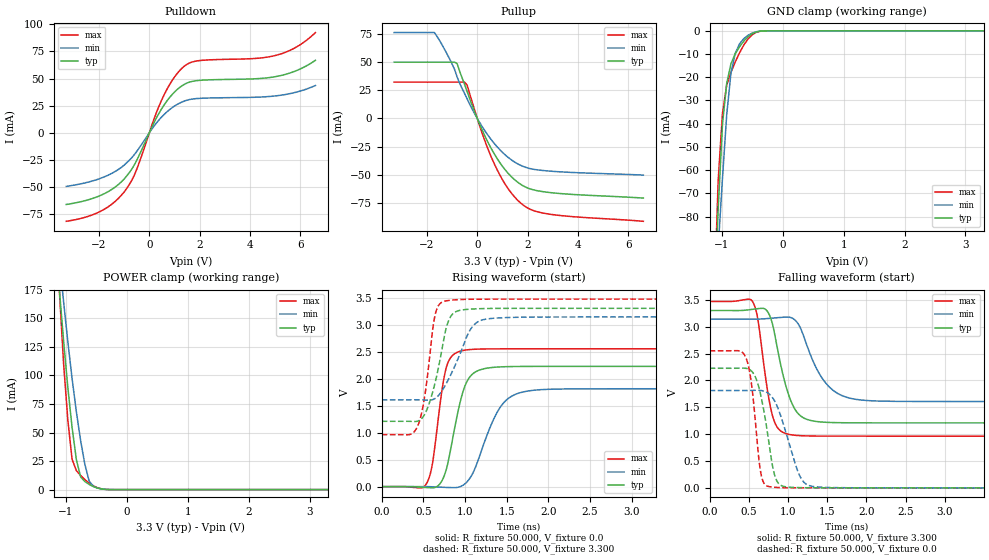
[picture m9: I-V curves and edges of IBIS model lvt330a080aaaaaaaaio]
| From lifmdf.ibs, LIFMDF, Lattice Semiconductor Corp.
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|   Model lvt330a080aaaaaaaaio
[Model] lvt330a080aaaaaaaaio
Model_type I/O
Polarity   Non-Inverting
Enable   Active-Low
Vinl =  0.800V
Vinh =  2.000V
Vmeas =  1.650V
Cref =  0.0F
Rref =  1.000M
Vref =  0.0V
C_comp   5.000pF   4.000pF   5.500pF
[Temperature Range]   25.000   0.125k   -40.000
[Voltage Range]   3.300V   3.140V   3.470V
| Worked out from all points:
|   slope of the pulldown table from 0 to 0.495 V, typ, clamps not added: 22.2 ohm
|   slope of the pullup table from 0 to 0.495 V, typ, clamps not added: 20.5 ohm
|   GND clamp passes 1 mA (typ) near -0.48 V on its own axis
|   POWER clamp passes 1 mA (typ) near -0.46 V on its own axis
|   rising waveform, R_fixture 50.000, V_fixture 0.0: 20-80 % time 185ps typ, 288ps min, 134ps max; typ from 0 V to 2.23 V
|   rising waveform, R_fixture 50.000, V_fixture 3.300: 20-80 % time 178ps typ, 261ps min, 124ps max; typ from 1.21 V to 3.3 V
|   falling waveform, R_fixture 50.000, V_fixture 3.300: 20-80 % time 207ps typ, 307ps min, 149ps max; typ from 3.3 V to 1.21 V
|   falling waveform, R_fixture 50.000, V_fixture 0.0: 20-80 % time 154ps typ, 231ps min, 107ps max; typ from 2.23 V to 0 V
[Pulldown]
|Voltage   I(typ)   I(min)   I(max)
-3.3V     -66.12mA   -49.45mA   -81.62mA
-1.9V     -57.38mA   -41.67mA   -71.93mA
-1V       -42.63mA   -29.84mA   -54.63mA
-500mV    -25.4mA    -17.23mA   -33.66mA
200mV     10mA       6.57mA     13.59mA
600mV     26.08mA    17.12mA    35.57mA
1V        37.51mA    24.6mA     51.39mA
1.4V      44.74mA    29.31mA    61.55mA
2V        48.29mA    31.71mA    66.54mA
5V        51.68mA    33.93mA    71.19mA
5.8V      56.86mA    37.2mA     78.45mA
6.6V      66.79mA    43.54mA    92.35mA
[Pullup]
|Voltage   I(typ)   I(min)   I(max)
-3.3V     49.76mA    75.94mA    32.09mA
-1.7V     49.76mA    75.94mA    32.09mA
-1.1V     49.76mA    52.63mA    32.09mA
-800mV    48.46mA    36.68mA    32.09mA
-500mV    29.82mA    21.85mA    32.09mA
-400mV    23.59mA    17.17mA    29.27mA
100mV     -5.404mA   -3.789mA   -6.933mA
600mV     -28.43mA   -20.06mA   -36.39mA
1.1V      -45.22mA   -32.08mA   -57.88mA
1.6V      -56.35mA   -40.11mA   -72.27mA
2.7V      -65.07mA   -46.28mA   -84.1mA
6.6V      -70.47mA   -50.13mA   -91.02mA
[GND_clamp]
|Voltage   I(typ)   I(min)   I(max)
-3.3V     -1.71A     -1.258A    -2.349A
-1.13V    -119.4mA   -124.8mA   -120.4mA
-1.06V    -76.91mA   -93.41mA   -64.42mA
-990mV    -40.37mA   -63.68mA   -35.65mA
-920mV    -22.62mA   -36.09mA   -23.42mA
-850mV    -14.16mA   -18.16mA   -17.82mA
-780mV    -9.927mA   -9.751mA   -13.44mA
-710mV    -6.91mA    -5.613mA   -9.526mA
-640mV    -4.44mA    -3.389mA   -6.157mA
-500mV    -1.202mA   -949.6uA   -1.652mA
-290mV    -17.25uA   -20.48uA   -19.31uA
3.3V      0A         0A         0A
[POWER_clamp]
|Voltage   I(typ)   I(min)   I(max)
-3.3V     2.101A     1.758A     3.757A
-1.11V    175.8mA    202.2mA    175mA
-1.04V    130.5mA    164.8mA    110.8mA
-970mV    89.45mA    129.5mA    60.76mA
-900mV    54.3mA     97.15mA    26.5mA
-830mV    26.3mA     68.21mA    16.62mA
-760mV    11.08mA    42.94mA    12.4mA
-690mV    7.003mA    21.99mA    8.787mA
-620mV    4.527mA    7.423mA    5.723mA
-550mV    2.623mA    2.943mA    3.295mA
-270mV    19.59uA    47.33uA    15.48uA
3.3V      0A         0A         0A
[Ramp]
| variable   typ   min   max
dV/dt_r   1.335/0.193n   1.087/0.298n   1.530/0.139n
dV/dt_f   1.255/0.212n   0.920/0.311n   1.505/0.156n
R_load = 50.000
[Rising Waveform]
R_fixture= 50.000
V_fixture= 0.0
V_fixture_min= 0.0
V_fixture_max= 0.0
|time   V(typ)   V(min)   V(max)
0s        0V         0V         0V
542ps     -16.67mV   648.7uV    68.39mV
612ps     -21.24mV   -3.415mV   456.9mV
721ps     104.6mV    -11.3mV    1.762V
779ps     343mV      -14.45mV   2.224V
999ps     1.863V     52.7mV     2.526V
1.129ns   2.126V     373.8mV    2.543V
1.444ns   2.217V     1.516V     2.55V
1.825ns   2.225V     1.784V     2.55V
10ns      2.225V     1.812V     2.55V
[Rising Waveform]
R_fixture= 50.000
V_fixture= 3.300
V_fixture_min= 3.140
V_fixture_max= 3.470
|time   V(typ)   V(min)   V(max)
0s        1.209V     1.607V     962.5mV
333ps     1.209V     1.607V     963.3mV
423ps     1.209V     1.607V     1.093V
512ps     1.329V     1.604V     1.633V
642ps     1.933V     1.634V     3.185V
786ps     2.999V     1.941V     3.441V
870ps     3.22V      2.207V     3.456V
1.072ns   3.286V     2.925V     3.468V
1.325ns   3.298V     3.114V     3.47V
10ns      3.3V       3.14V      3.47V
[Falling Waveform]
R_fixture= 50.000
V_fixture= 3.300
V_fixture_min= 3.140
V_fixture_max= 3.470
|time   V(typ)   V(min)   V(max)
0s        3.3V       3.14V      3.47V
548ps     3.323V     3.139V     3.464V
612ps     3.334V     3.141V     3.16V
721ps     3.311V     3.149V     1.974V
801ps     3.05V      3.159V     1.345V
1.024ns   1.663V     3.173V     991.9mV
1.174ns   1.324V     2.92V      970.1mV
1.489ns   1.22V      1.936V     963mV
1.938ns   1.21V      1.634V     962.5mV
10ns      1.209V     1.607V     962.5mV
[Falling Waveform]
R_fixture= 50.000
V_fixture= 0.0
V_fixture_min= 0.0
V_fixture_max= 0.0
|time   V(typ)   V(min)   V(max)
0s        2.225V     1.812V     2.55V
464ps     2.224V     1.812V     2.416V
532ps     2.176V     1.814V     1.95V
651ps     1.729V     1.813V     289.1mV
775ps     650.6mV    1.725V     19.02mV
827ps     247.7mV    1.621V     10.93mV
896ps     57.42mV    1.385V     5.737mV
1.143ns   4.883mV    243.5mV    610.6uV
1.315ns   1.378mV    26.1mV     127.7uV
10ns      0V         0V         0V
